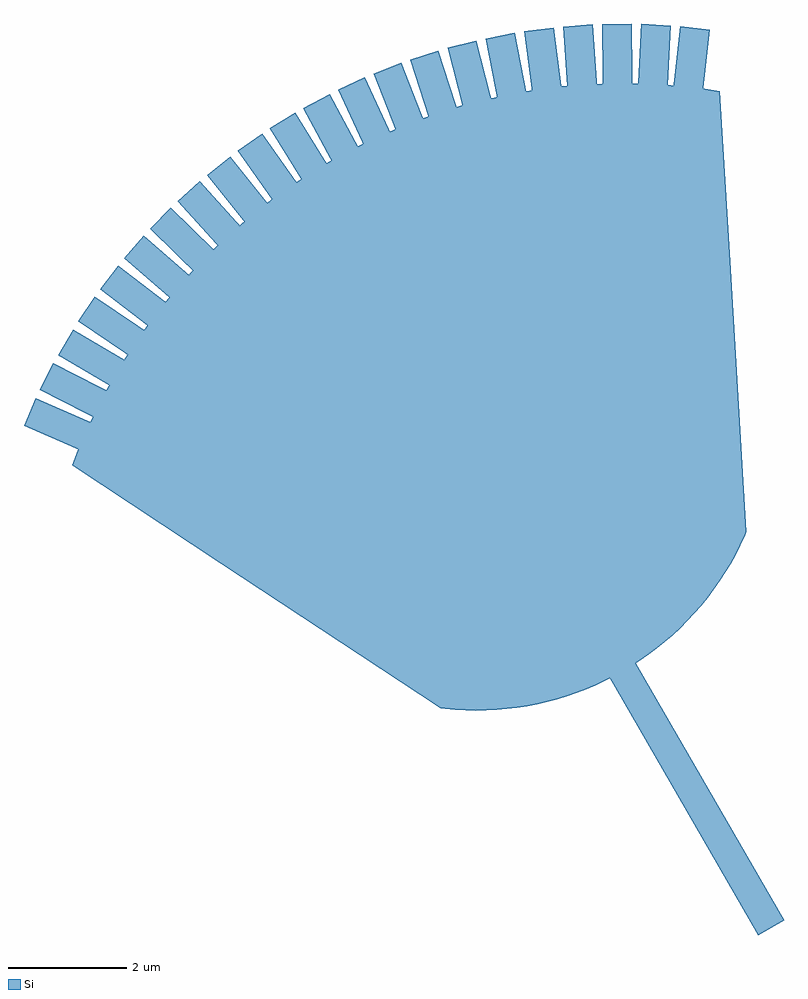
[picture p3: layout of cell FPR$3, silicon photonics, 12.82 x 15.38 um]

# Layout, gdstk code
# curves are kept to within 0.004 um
from math import pi, radians
import gdstk
lib = gdstk.Library(unit=1e-6, precision=1e-09)
def R(c, l, rs):  # rectangles x0, y0, x1, y1
    for r in rs: c.add(gdstk.rectangle(r[:2], r[2:], *l))
def P(c, l, *ps):  # polygons
    for p in ps: c.add(gdstk.Polygon(p, *l))
Si = (1, 0)

taper002_3 = lib.new_cell('taper002$3')
R(taper002_3, Si, [(-1,-0.25,2.5,0.25)])

boolean_3 = lib.new_cell('boolean$3')
P(boolean_3, Si, [(2.695,-6.307),(-3.967,-2.977),(-4.112,-2.774),(-4.206,-2.628),(-4.379,-2.329),(-4.458,-2.174),(-4.599,-1.858),(-4.717,-1.533),(-4.813,-1.2),(-4.885,-0.861),(-4.912,-0.69),(-4.948,-0.346),(-4.96,0),(-4.948,0.346),(-4.912,0.69),(-4.885,0.861),(-4.813,1.2),(-4.717,1.533),(-4.599,1.858),(-4.458,2.174),(-4.379,2.329),(-4.206,2.628),(-4.112,2.774),(-3.967,2.977),(2.695,6.307),(2.857,6.107),(3.065,5.831),(3.264,5.547),(3.453,5.257),(3.631,4.96),(3.799,4.657),(3.956,4.349),(4.102,4.035),(4.238,3.716),(4.362,3.393),(4.474,3.065),(4.576,2.734),(4.665,2.4),(4.743,2.062),(4.809,1.723),(4.863,1.381),(4.906,1.037),(4.936,0.692),(4.954,0.346),(4.96,0),(4.954,-0.346),(4.936,-0.692),(4.906,-1.037),(4.863,-1.381),(4.809,-1.723),(4.743,-2.062),(4.665,-2.4),(4.576,-2.734),(4.474,-3.065),(4.362,-3.393),(4.238,-3.716),(4.102,-4.035),(3.956,-4.349),(3.799,-4.657),(3.631,-4.96),(3.453,-5.257),(3.264,-5.547),(3.065,-5.831),(2.857,-6.107)])

taper_3 = lib.new_cell('taper$3')
R(taper_3, Si, [(-5,-0.25,2.5,0.25)])

fpr_3 = lib.new_cell('FPR$3')
fpr_3.add(gdstk.Reference(taper002_3, (-21.49,-0.323), rotation=radians(336.393), x_reflection=True))
fpr_3.add(gdstk.Reference(taper002_3, (-20.273,1.739), rotation=radians(322.529), x_reflection=True))
fpr_3.add(gdstk.Reference(taper002_3, (-19.894,2.204), rotation=radians(319.063), x_reflection=True))
fpr_3.add(gdstk.Reference(taper002_3, (-19.055,3.061), rotation=radians(312.131), x_reflection=True))
fpr_3.add(gdstk.Reference(taper002_3, (-18.598,3.45), rotation=radians(308.665), x_reflection=True))
fpr_3.add(gdstk.Reference(taper002_3, (-17.618,4.142), rotation=radians(301.733), x_reflection=True))
fpr_3.add(gdstk.Reference(boolean_3, (-14.88,0), rotation=radians(120)))
fpr_3.add(gdstk.Reference(taper002_3, (-21.233,0.219), rotation=radians(332.927), x_reflection=True))
fpr_3.add(gdstk.Reference(taper002_3, (-11.295,5.563), rotation=radians(263.607), x_reflection=True))
fpr_3.add(gdstk.Reference(taper002_3, (-20.624,1.252), rotation=radians(325.995), x_reflection=True))
fpr_3.add(gdstk.Reference(taper002_3, (-11.893,5.612), rotation=radians(267.073), x_reflection=True))
fpr_3.add(gdstk.Reference(taper002_3, (-12.493,5.624), rotation=radians(270.539), x_reflection=True))
fpr_3.add(gdstk.Reference(taper_3, (-12.4,-4.295), rotation=radians(120)))
fpr_3.add(gdstk.Reference(taper002_3, (-13.093,5.6), rotation=radians(274.005), x_reflection=True))
fpr_3.add(gdstk.Reference(taper002_3, (-19.487,2.646), rotation=radians(315.597), x_reflection=True))
fpr_3.add(gdstk.Reference(taper002_3, (-18.118,3.811), rotation=radians(305.199), x_reflection=True))
fpr_3.add(gdstk.Reference(taper002_3, (-13.69,5.54), rotation=radians(277.471), x_reflection=True))
fpr_3.add(gdstk.Reference(taper002_3, (-20.944,0.745), rotation=radians(329.461), x_reflection=True))
fpr_3.add(gdstk.Reference(taper002_3, (-16.009,4.945), rotation=radians(291.335), x_reflection=True))
fpr_3.add(gdstk.Reference(taper002_3, (-14.282,5.444), rotation=radians(280.937), x_reflection=True))
fpr_3.add(gdstk.Reference(taper002_3, (-15.444,5.146), rotation=radians(287.869), x_reflection=True))
fpr_3.add(gdstk.Reference(taper002_3, (-14.868,5.313), rotation=radians(284.403), x_reflection=True))
fpr_3.add(gdstk.Reference(taper002_3, (-16.561,4.71), rotation=radians(294.801), x_reflection=True))
fpr_3.add(gdstk.Reference(taper002_3, (-17.098,4.442), rotation=radians(298.267), x_reflection=True))

lib.write_gds('FPR_3.gds')
